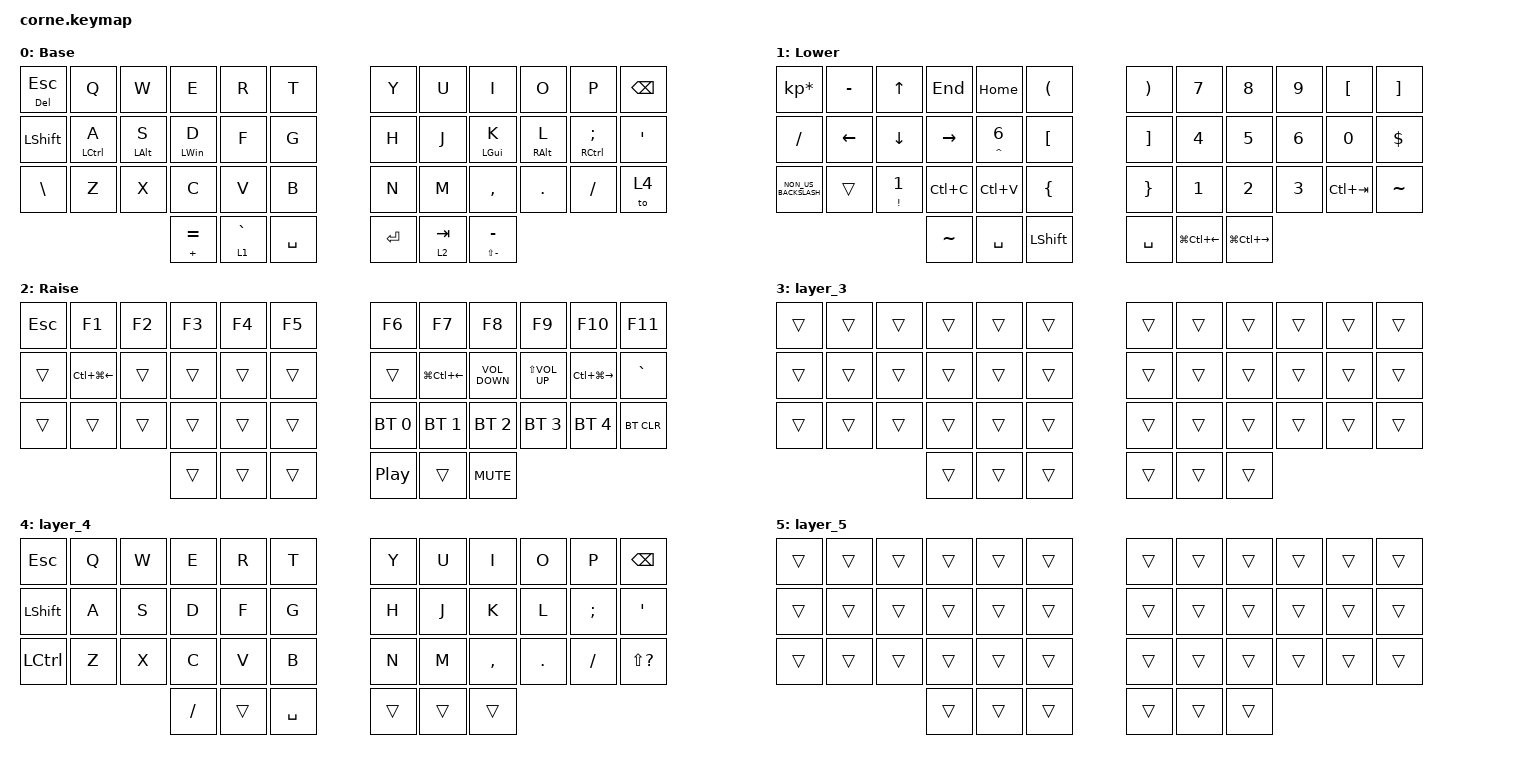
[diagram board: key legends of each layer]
/*
 * Copyright (c) 2020 The ZMK Contributors
 *
 * SPDX-License-Identifier: MIT
 */

#include <behaviors.dtsi>
#include <dt-bindings/zmk/bt.h>
#include <dt-bindings/zmk/keys.h>

/ {
    behaviors {
        HMR: HMR {
            compatible = "zmk,behavior-hold-tap";
            label = "HMR";
            bindings = <&kp>, <&kp>;

            #binding-cells = <2>;
            tapping-term-ms = <280>;
            quick-tap-ms = <175>;
            flavor = "tap-preferred";
            hold-trigger-key-positions = <0 1 2 3 4 5 12 13 14 15 16 17 24 25 26 27 28 29 36 37 38 39 40 41>;
            hold-trigger-on-release;
        };

        HML: HML {
            compatible = "zmk,behavior-hold-tap";
            label = "HML";
            bindings = <&kp>, <&kp>;

            #binding-cells = <2>;
            tapping-term-ms = <280>;
            quick-tap-ms = <175>;
            flavor = "tap-preferred";
            hold-trigger-on-release;
            hold-trigger-key-positions = <36 37 38 6 7 8 9 10 11 18 19 20 21 22 23 30 31 32 33 34 35 39 40 41>;
        };
    };

    combos {
        compatible = "zmk,combos";

        back-to-base {
            bindings = <&to 0>;
            key-positions = <38 39>;
        };

        jkl_as_enter {
            bindings = <&kp ENTER>;
            key-positions = <19 20 21>;
        };

        a {
            bindings = <&kp MINUS>;
            key-positions = <2 3>;
            require-prior-idle-ms = <5>;
        };

        b {
            bindings = <&kp PLUS>;
            key-positions = <8 9>;
            require-prior-idle-ms = <19>;
        };

        c {
            bindings = <&kp BACKSLASH>;
            key-positions = <14 15>;
        };

        e {
            bindings = <&kp SLASH>;
            key-positions = <20 21>;
        };
    };

    keymap {
        compatible = "zmk,keymap";

        default_layer {
            // -----------------------------------------------------------------------------------------
            // |  TAB |  Q  |  W  |  E  |  R  |  T  |   |  Y  |  U   |  I  |  O  |  P  | BKSP |
            // | CTRL |  A  |  S  |  D  |  F  |  G  |   |  H  |  J   |  K  |  L  |  ;  |  '   |
            // | SHFT |  Z  |  X  |  C  |  V  |  B  |   |  N  |  M   |  ,  |  .  |  /  | ESC  |
            //                    | GUI | LWR | SPC |   | ENT | RSE  | ALT |

            display-name = "Base";
            bindings = <
&HML DEL ESCAPE  &kp Q                &kp W            &kp E            &kp R        &kp T        &kp Y      &kp U      &kp I                 &kp O             &kp P                         &kp BSPC
&kp LEFT_SHIFT   &HML LEFT_CONTROL A  &HML LEFT_ALT S  &HML LEFT_WIN D  &kp F        &kp G        &kp H      &kp J      &HMR LEFT_GUI K       &HMR RIGHT_ALT L  &HMR RIGHT_CONTROL SEMICOLON  &kp SQT
&kp BACKSLASH    &kp Z                &kp X            &kp C            &kp V        &kp B        &kp N      &kp M      &kp COMMA             &kp DOT           &kp FSLH                      &to 4
                                                       &HML PLUS EQUAL  &lt 1 GRAVE  &kp SPACE    &kp ENTER  &lt 2 TAB  &HMR LS(MINUS) MINUS
            >;
        };

        lower_layer {
            // -----------------------------------------------------------------------------------------
            // |  TAB |  1  |  2  |  3  |  4  |  5  |   |  6  |  7  |  8  |  9  |  0  | BKSP |
            // | BTCLR| BT1 | BT2 | BT3 | BT4 | BT5 |   | LFT | DWN |  UP | RGT |     |      |
            // | SHFT |     |     |     |     |     |   |     |     |     |     |     |      |
            //                    | GUI |     | SPC |   | ENT |     | ALT |

            display-name = "Lower";
            bindings = <
&kp KP_MULTIPLY       &kp MINUS       &kp UP_ARROW              &kp END    &kp HOME            &kp LEFT_PARENTHESIS    &kp RIGHT_PARENTHESIS  &kp NUMBER_7      &kp NUMBER_8       &kp N9        &kp LEFT_BRACKET  &kp RIGHT_BRACKET
&kp SLASH             &kp LEFT_ARROW  &kp DOWN                  &kp RIGHT  &mt CARET NUMBER_6  &kp LEFT_BRACKET        &kp RIGHT_BRACKET      &kp NUMBER_4      &kp NUMBER_5       &kp NUMBER_6  &kp NUMBER_0      &kp DOLLAR
&kp NON_US_BACKSLASH  &trans          &mt EXCLAMATION NUMBER_1  &kp LC(C)  &kp LC(V)           &kp LEFT_BRACE          &kp RIGHT_BRACE        &kp NUMBER_1      &kp NUMBER_2       &kp NUMBER_3  &kp LC(TAB)       &kp TILDE
                                                                &kp TILDE  &kp SPACE           &kp LEFT_SHIFT          &kp SPACE              &kp LG(LC(LEFT))  &kp LG(LC(RIGHT))
            >;
        };

        raise_layer {
            // -----------------------------------------------------------------------------------------
            // |  TAB |  !  |  @  |  #  |  $  |  %  |   |  ^  |  &  |  *  |  (  |  )  | BKSP |
            // | CTRL |     |     |     |     |     |   |  -  |  =  |  [  |  ]  |  \  |  `   |
            // | SHFT |     |     |     |     |     |   |  _  |  +  |  {  |  }  | "|" |  ~   |
            //                    | GUI |     | SPC |   | ENT |     | ALT |

            display-name = "Raise";
            bindings = <
&kp ESC  &kp F1            &kp F2  &kp F3  &kp F4  &kp F5    &kp F6            &kp F7            &kp F8             &kp F9            &kp F10            &kp F11
&trans   &kp LC(LG(LEFT))  &trans  &trans  &trans  &trans    &trans            &kp LG(LC(LEFT))  &kp K_VOLUME_DOWN  &kp LS(K_VOL_UP)  &kp LC(LG(RIGHT))  &kp GRAVE
&trans   &trans            &trans  &trans  &trans  &trans    &bt BT_SEL 0      &bt BT_SEL 1      &bt BT_SEL 2       &bt BT_SEL 3      &bt BT_SEL 4       &bt BT_CLR
                                   &trans  &trans  &trans    &kp C_PLAY_PAUSE  &trans            &kp C_MUTE
            >;
        };

        layer_3 {
            bindings = <
&trans  &trans  &trans  &trans  &trans  &trans    &trans  &trans  &trans  &trans  &trans  &trans
&trans  &trans  &trans  &trans  &trans  &trans    &trans  &trans  &trans  &trans  &trans  &trans
&trans  &trans  &trans  &trans  &trans  &trans    &trans  &trans  &trans  &trans  &trans  &trans
                        &trans  &trans  &trans    &trans  &trans  &trans
            >;
        };

        layer_4 {
            bindings = <
&kp ESC           &kp Q  &kp W  &kp E     &kp R   &kp T        &kp Y   &kp U   &kp I      &kp O    &kp P     &kp BACKSPACE
&kp LEFT_SHIFT    &kp A  &kp S  &kp D     &kp F   &kp G        &kp H   &kp J   &kp K      &kp L    &kp SEMI  &kp SQT
&kp LEFT_CONTROL  &kp Z  &kp X  &kp C     &kp V   &kp B        &kp N   &kp M   &kp COMMA  &kp DOT  &kp FSLH  &kp LS(QMARK)
                                &kp FSLH  &trans  &kp SPACE    &trans  &trans  &trans
            >;
        };

        layer_5 {
            bindings = <
&trans  &trans  &trans  &trans  &trans  &trans    &trans  &trans  &trans  &trans  &trans  &trans
&trans  &trans  &trans  &trans  &trans  &trans    &trans  &trans  &trans  &trans  &trans  &trans
&trans  &trans  &trans  &trans  &trans  &trans    &trans  &trans  &trans  &trans  &trans  &trans
                        &trans  &trans  &trans    &trans  &trans  &trans
            >;
        };
    };
};
